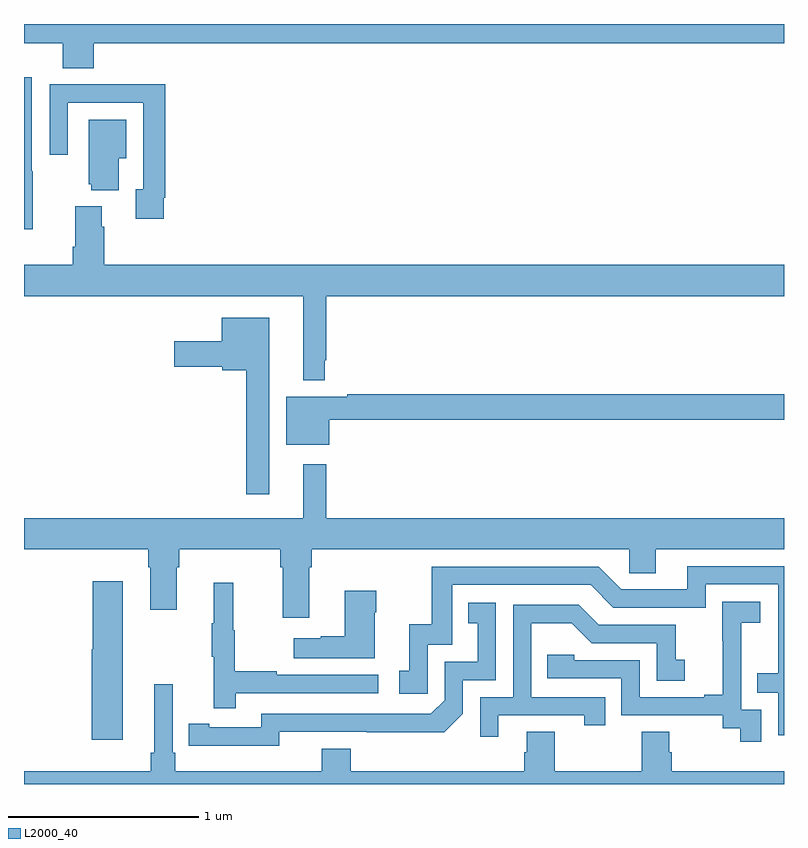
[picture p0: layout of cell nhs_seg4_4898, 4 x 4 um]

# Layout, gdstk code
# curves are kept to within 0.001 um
import gdstk
lib = gdstk.Library(unit=1e-6, precision=1e-09)
def P(c, l, *ps):  # polygons
    for p in ps: c.add(gdstk.Polygon(p, *l))
L2000_40 = (2000, 40)

nhs_seg4_4898 = lib.new_cell('nhs_seg4_4898')
P(nhs_seg4_4898, L2000_40, [(375.368,816.8),(379,816.8),(379,816.9),(375,816.9),(375,816.8),(375.203,816.8),(375.203,816.667),(375.368,816.667)],
  [(375.045,816.125),(375.042,816.125),(375.042,816.619),(375,816.619),(375,815.819),(375.045,815.819)],
  [(375.736,815.986),(375.743,815.986),(375.743,816.584),(375.451,816.584),(375.451,816.582),(375.135,816.582),(375.135,816.213),(375.231,816.213),(375.231,816.486),(375.627,816.486),(375.627,816.03),(375.587,816.03),(375.587,815.874),(375.736,815.874)],
  [(375.499,816.194),(375.538,816.194),(375.538,816.397),(375.341,816.397),(375.341,816.057),(375.353,816.057),(375.353,816.026),(375.499,816.026)],
  [(376.584,815.131),(376.591,815.131),(376.591,815.468),(379,815.468),(379,815.632),(375.422,815.632),(375.422,815.834),(375.409,815.834),(375.409,815.941),(375.269,815.941),(375.269,815.728),(375.257,815.728),(375.257,815.632),(375,815.632),(375,815.468),(376.469,815.468),(376.469,815.024),(376.584,815.024)],
  [(376.291,815.353),(376.04,815.353),(376.04,815.23),(375.792,815.23),(375.792,815.096),(376.044,815.096),(376.044,815.078),(376.17,815.078),(376.17,814.425),(376.291,814.425)],
  [(376.606,814.816),(379,814.816),(379,814.952),(376.702,814.952),(376.702,814.939),(376.379,814.939),(376.379,814.685),(376.606,814.685)],
  [(376.501,814.04),(376.514,814.04),(376.514,814.136),(378.186,814.136),(378.186,814.009),(378.325,814.009),(378.325,814.136),(379,814.136),(379,814.3),(376.591,814.3),(376.591,814.582),(376.469,814.582),(376.469,814.3),(375,814.3),(375,814.136),(375.653,814.136),(375.653,814.04),(375.665,814.04),(375.665,813.816),(375.805,813.816),(375.805,814.04),(375.818,814.04),(375.818,814.136),(376.349,814.136),(376.349,814.04),(376.361,814.04),(376.361,813.774),(376.501,813.774)],
  [(379,814.047),(378.491,814.047),(378.491,813.924),(378.144,813.924),(378.024,814.044),(377.145,814.044),(377.145,813.742),(377.027,813.742),(377.027,813.495),(376.974,813.495),(376.974,813.375),(377.124,813.375),(377.124,813.633),(377.253,813.633),(377.253,813.948),(377.982,813.948),(378.102,813.828),(378.588,813.828),(378.588,813.951),(378.969,813.951),(378.969,813.482),(378.859,813.482),(378.859,813.381),(378.969,813.381),(378.969,813.156),(379,813.156)],
  [(375.52,813.967),(375.362,813.967),(375.362,813.609),(375.356,813.609),(375.356,813.132),(375.52,813.132)],
  [(376.115,813.378),(376.864,813.378),(376.864,813.474),(376.331,813.474),(376.331,813.494),(376.108,813.494),(376.108,813.708),(376.1,813.708),(376.1,813.958),(375.998,813.958),(375.998,813.745),(375.987,813.745),(375.987,813.571),(375.998,813.571),(375.998,813.3),(376.115,813.3)],
  [(376.846,813.803),(376.854,813.803),(376.854,813.916),(376.688,813.916),(376.688,813.677),(376.562,813.677),(376.562,813.667),(376.419,813.667),(376.419,813.563),(376.846,813.563)],
  [(378.879,813.291),(378.774,813.291),(378.774,813.521),(378.776,813.521),(378.776,813.749),(378.874,813.749),(378.874,813.859),(378.676,813.859),(378.676,813.653),(378.677,813.653),(378.677,813.37),(378.581,813.37),(378.581,813.357),(378.24,813.357),(378.24,813.552),(377.895,813.552),(377.895,813.579),(377.755,813.579),(377.755,813.456),(378.144,813.456),(378.144,813.261),(378.678,813.261),(378.678,813.193),(378.771,813.193),(378.771,813.123),(378.879,813.123)],
  [(376.344,813.174),(377.212,813.173),(377.31,813.27),(377.31,813.447),(377.484,813.447),(377.484,813.853),(377.338,813.853),(377.338,813.747),(377.387,813.747),(377.387,813.543),(377.214,813.543),(377.214,813.342),(377.142,813.27),(376.248,813.27),(376.248,813.198),(375.976,813.198),(375.976,813.218),(375.868,813.218),(375.868,813.102),(376.344,813.101)],
  [(377.497,813.261),(377.948,813.261),(377.948,813.21),(378.059,813.21),(378.059,813.357),(377.67,813.357),(377.67,813.746),(377.884,813.746),(377.988,813.642),(378.33,813.642),(378.33,813.444),(378.478,813.444),(378.478,813.553),(378.429,813.553),(378.429,813.738),(378.025,813.738),(377.92,813.843),(377.574,813.843),(377.574,813.357),(377.4,813.357),(377.4,813.15),(377.497,813.15)],
  [(379,812.968),(378.41,812.968),(378.41,813.066),(378.397,813.066),(378.397,813.176),(378.25,813.176),(378.25,812.968),(377.793,812.968),(377.793,813.176),(377.645,813.176),(377.645,813.066),(377.633,813.066),(377.633,812.968),(376.721,812.968),(376.721,813.085),(376.568,813.085),(376.568,812.968),(375.797,812.968),(375.797,813.064),(375.783,813.064),(375.783,813.424),(375.686,813.424),(375.686,813.064),(375.667,813.064),(375.667,812.968),(375,812.968),(375,812.9),(379,812.9)])

lib.write_gds('nhs_seg4_4898.gds')
